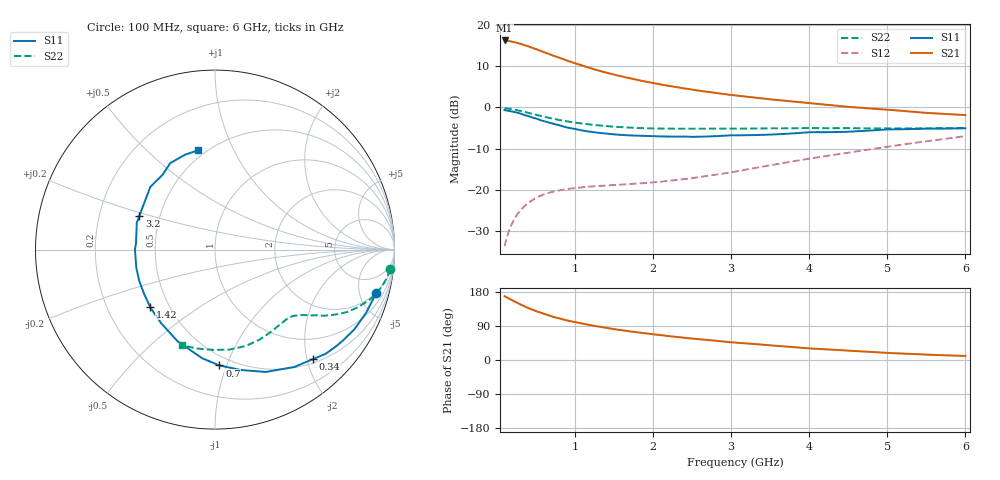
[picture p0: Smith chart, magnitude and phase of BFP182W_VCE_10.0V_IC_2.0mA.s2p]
! Infineon Technologies  Discrete & RF Semiconductors
! BFP182W
! VCE = 10.0V,  IC =  2.0 mA
! Common Emitter S-Parameters:  Jan 2016
# GHz  S  MA  R  50
!  f  S11  S21  S12  S22
! GHz  MAG  ANG  MAG  ANG  MAG  ANG  MAG  ANG
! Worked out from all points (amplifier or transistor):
!   192 points, 100 MHz to 6 GHz, reference 50 ohm
!   highest |S21| = 16.2 dB at 100 MHz (marker M1)
!   |S21| within 3 dB of that: start of sweep to 629.1 MHz
!   unconditionally stable (mu >= 1): 1.86 GHz to 3.2 GHz
!   at 440 MHz: K = 0.29, MSG = 18.6 dB, |S12| = -22.6 dB
!   at 1.7 GHz: K = 0.94, MSG = 12.8 dB, |S12| = -18.5 dB
!   at 6 GHz: K = 0.75, MSG = 2.5 dB, |S12| = -6.9 dB
!   S11 on the Smith chart (normalised r, x): 100 MHz: 1.96, -7.01; 340 MHz: 0.57, -2.11; 700 MHz: 0.43, -0.94; 1.42 GHz: 0.39, -0.33; 3.2 GHz: 0.38, +0.18; 6 GHz: 0.46, +0.73
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0.1  0.9299 -15.1  6.472 168.4  0.021 80.7  0.9823 -6.4
0.16  0.9083 -24.0  6.354 161.5  0.0328 76.0  0.9664 -10.1
0.24  0.8745 -35.4  6.124 152.9  0.0474 70.1  0.9357 -14.5
0.3  0.8469 -43.3  5.902 146.9  0.0567 66.1  0.91 -17.6
0.34  0.8189 -48.2  5.727 143.2  0.0619 63.4  0.8903 -19.2
0.4  0.7889 -56.0  5.514 137.2  0.0699 60.1  0.8622 -21.7
0.5  0.738 -67.5  5.099 129.1  0.0806 55.1  0.8166 -25.1
0.6  0.6853 -78.1  4.699 121.8  0.0889 51.4  0.7743 -27.7
0.7  0.6458 -87.8  4.318 115.1  0.0948 48.3  0.7377 -29.7
0.8  0.6094 -96.8  3.993 109.4  0.0995 46.1  0.7056 -31.5
0.9  0.5725 -104.8  3.683 104.4  0.1032 44.4  0.6785 -32.6
1.1  0.526 -118.9  3.2 96.0  0.1084 42.7  0.6382 -35.0
1.2  0.5086 -126.0  2.981 91.7  0.1107 42.1  0.6204 -36.0
1.42  0.4818 -138.7  2.611 84.1  0.114 42.5  0.5932 -38.0
1.72  0.4588 -153.7  2.24 75.2  0.1188 44.9  0.5697 -40.6
2.08  0.4474 -169.4  1.912 65.9  0.126 49.2  0.5562 -44.4
2.5  0.4416 175.7  1.642 56.4  0.1396 54.7  0.5524 -49.0
3.1  0.4608 158.4  1.383 45.3  0.1709 61.6  0.5548 -57.5
3.2  0.4617 155.8  1.349 43.8  0.178 62.4  0.5554 -59.0
4.1  0.5017 133.8  1.109 29.5  0.2487 65.2  0.5623 -74.1
5.1  0.5438 115.2  0.925 17.8  0.3454 62.2  0.558 -92.8
6  0.5606 99.9  0.809 10.7  0.4502 56.0  0.564 -108.9
